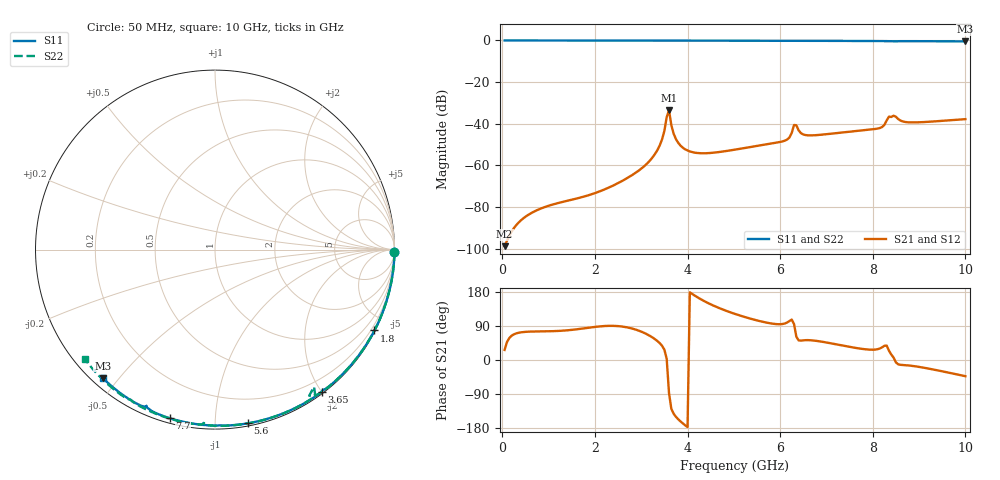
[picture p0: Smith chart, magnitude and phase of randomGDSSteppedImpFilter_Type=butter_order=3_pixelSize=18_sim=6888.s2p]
! freq	dB(S11)	phase(S11)	dB(S12)	phase(S12)
!  dB(S21)	phase(S21)	dB(S22)	phase(S22)
!S-par simulation data
#  GHz  S  DB  R 50
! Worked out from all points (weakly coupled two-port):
!   200 points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, 50 MHz to 10 GHz, reference 50 ohm
!   highest |S21| = -33.51 dB at 3.6 GHz (marker M1); lowest = -98.9 dB at 50 MHz (marker M2)
!   lowest |S11| = -0.4 dB at 10 GHz (marker M3), VSWR 39.03, Z = 1.54 - j22.7 ohm
!   |S11| at or under -10 dB: nowhere
!   |S22| runs from -0.5 to 0.0 dB; largest |S21 - S12| = 0
!   S11 on the Smith chart (normalised r, x): 50 MHz: open; 1.8 GHz: 0.04, -4.18; 3.65 GHz: 0.02, -2.00; 5.6 GHz: 0.02, -1.21; 7.7 GHz: 0.02, -0.77; 10 GHz: 0.03, -0.45
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0.05  -0.00 -0.8  -98.87 26.6  -98.87 26.6  -0.00 -0.8
0.9  -0.02 -13.6  -80.20 75.6  -80.20 75.6  -0.02 -14.5
1.75  -0.03 -26.2  -75.13 83.3  -75.13 83.3  -0.04 -27.9
1.8  -0.03 -26.9  -74.81 84.1  -74.81 84.1  -0.04 -28.7
2.9  -0.06 -42.8  -63.27 79.5  -63.27 79.5  -0.06 -45.7
3.2  -0.06 -47.1  -57.41 62.8  -57.41 62.8  -0.07 -50.3
3.4  -0.07 -49.9  -50.42 44.4  -50.42 44.4  -0.08 -53.6
3.6  -0.13 -52.4  -33.51 -87.4  -33.51 -87.4  -0.51 -54.2
3.65  -0.08 -53.1  -40.67 -128.6  -40.67 -128.6  -0.15 -55.4
3.8  -0.08 -55.3  -49.23 -156.5  -49.23 -156.5  -0.09 -58.5
4.05  -0.08 -58.8  -53.35 178.5  -53.35 178.5  -0.09 -62.3
5.05  -0.11 -72.1  -52.38 120.6  -52.38 120.6  -0.12 -76.6
5.6  -0.13 -79.2  -50.32 101.5  -50.32 101.5  -0.14 -84.2
6.15  -0.15 -86.2  -47.64 98.9  -47.64 98.9  -0.17 -91.7
6.3  -0.18 -88.1  -40.63 94.8  -40.63 94.8  -0.29 -93.7
6.45  -0.17 -89.8  -44.57 51.2  -44.57 51.2  -0.19 -95.2
6.7  -0.18 -92.9  -45.60 51.7  -45.60 51.7  -0.19 -98.6
7.7  -0.24 -105.0  -43.37 30.5  -43.37 30.5  -0.26 -111.5
8.2  -0.29 -111.1  -41.61 33.3  -41.61 33.3  -0.31 -117.9
8.35  -0.36 -112.8  -36.61 24.4  -36.61 24.4  -0.36 -119.4
8.8  -0.33 -117.4  -39.38 -14.7  -39.38 -14.7  -0.34 -125.1
10  -0.45 -131.2  -37.82 -42.8  -37.82 -42.8  -0.47 -140.0
